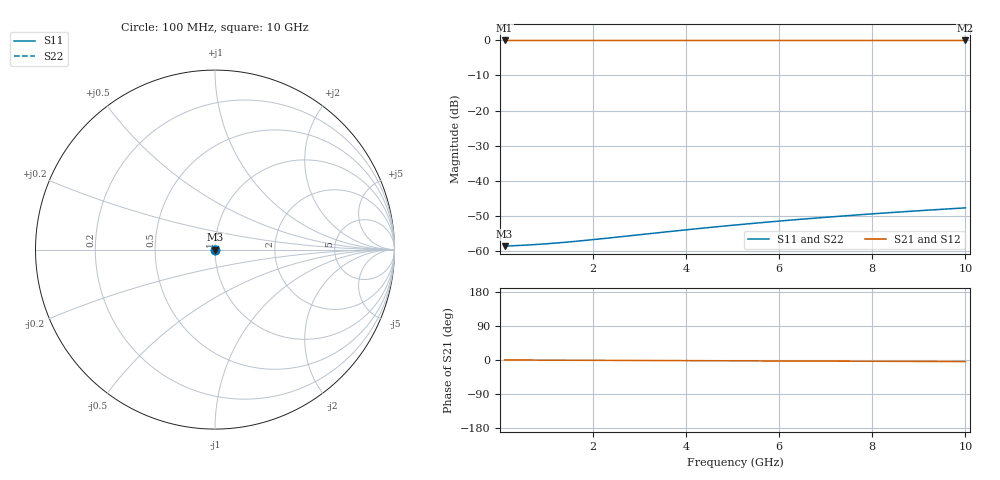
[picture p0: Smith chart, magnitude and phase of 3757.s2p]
# Hz S RI R 50.00
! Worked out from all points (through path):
!   100 points, 100 MHz to 10 GHz, reference 50 ohm
!   highest |S21| = -0.01 dB at 100 MHz (marker M1); lowest = 0.0 dB at 10 GHz (marker M2)
!   lowest |S11| = -58.7 dB at 100 MHz (marker M3), VSWR 1.00, Z = 50.1 + j0.00382 ohm
!   |S11| at or under -10 dB: start of sweep to end of sweep
!   |S22| runs from -58.7 to -47.8 dB; largest |S21 - S12| = 1e-15
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1e8  0.00116 3.81e-05  0.9988 -0.000727  0.9988 -0.000727  0.00116 3.81e-05
6e8  0.00119 0.000229  0.9988 -0.00436  0.9988 -0.00436  0.00119 0.000229
9e8  0.00119 0.000343  0.9988 -0.00654  0.9988 -0.00654  0.00119 0.000343
1.1e9  0.0012 0.000419  0.9988 -0.008  0.9988 -0.008  0.0012 0.000419
1.3e9  0.00121 0.000495  0.9987 -0.00945  0.9987 -0.00945  0.00121 0.000495
1.5e9  0.00121 0.000572  0.9987 -0.0109  0.9987 -0.0109  0.00121 0.000572
1.8e9  0.00122 0.000686  0.9987 -0.0131  0.9987 -0.0131  0.00122 0.000686
2.3e9  0.00123 0.000876  0.9986 -0.0167  0.9986 -0.0167  0.00123 0.000876
3.4e9  0.00126 0.00129  0.9984 -0.0247  0.9984 -0.0247  0.00126 0.00129
3.9e9  0.00127 0.00148  0.9983 -0.0284  0.9983 -0.0284  0.00127 0.00148
4.3e9  0.00129 0.00163  0.9982 -0.0313  0.9982 -0.0313  0.00129 0.00163
4.7e9  0.0013 0.00179  0.9981 -0.0342  0.9981 -0.0342  0.0013 0.00179
5.1e9  0.00132 0.00194  0.998 -0.0371  0.998 -0.0371  0.00132 0.00194
5.5e9  0.00133 0.00209  0.9979 -0.04  0.9979 -0.04  0.00133 0.00209
5.9e9  0.00135 0.00224  0.9978 -0.0429  0.9978 -0.0429  0.00135 0.00224
6.3e9  0.00136 0.00239  0.9976 -0.0458  0.9976 -0.0458  0.00136 0.00239
6.7e9  0.00138 0.00254  0.9975 -0.0487  0.9975 -0.0487  0.00138 0.00254
7.5e9  0.00142 0.00284  0.9972 -0.0545  0.9972 -0.0545  0.00142 0.00284
7.9e9  0.00144 0.00299  0.997 -0.0574  0.997 -0.0574  0.00144 0.00299
8.4e9  0.00147 0.00318  0.9968 -0.0611  0.9968 -0.0611  0.00147 0.00318
9.2e9  0.00151 0.00348  0.9964 -0.0669  0.9964 -0.0669  0.00151 0.00348
1e10  0.00156 0.00378  0.996 -0.0727  0.996 -0.0727  0.00156 0.00378
